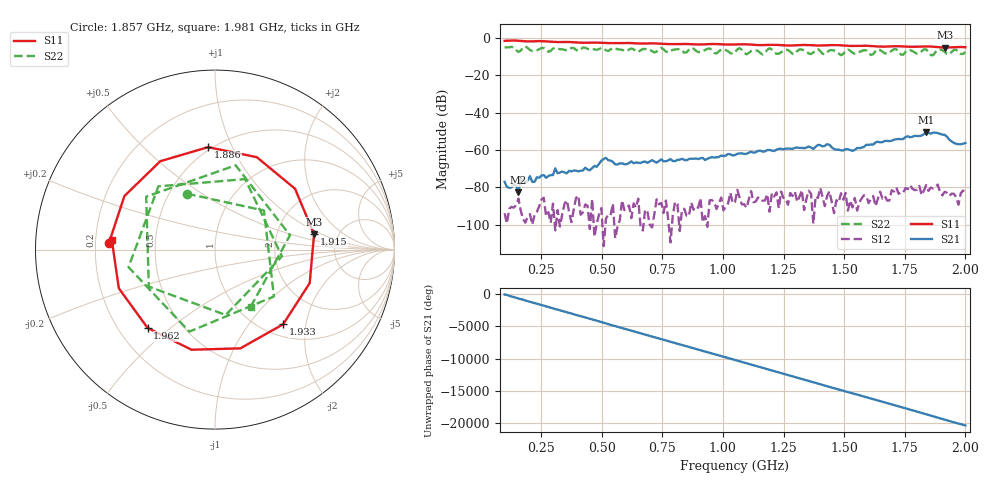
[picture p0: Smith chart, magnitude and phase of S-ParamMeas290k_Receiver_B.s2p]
!Keysight Technologies,N5242B,MY48420967,A.15.65.19
!Date: Saturday, February 04, 2023 18:42:34
!Correction: S11(C  1-Port  )
!S21(Off)
!S12(Off)
!S22(Off)
!S2P File: Measurements: S11, S21, S12, S22:
# Hz S  dB  R 50
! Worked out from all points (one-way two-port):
!   201 points, 100 MHz to 2 GHz, reference 50 ohm
!   highest |S21| = -50.52 dB at 1.839 GHz (marker M1); lowest = -82.6 dB at 157 MHz (marker M2)
!   lowest |S11| = -5.1 dB at 1.915 GHz (marker M3), VSWR 3.53, Z = 165 + j40.9 ohm
!   |S11| at or under -10 dB: nowhere
!   |S22| runs from -9.2 to -4.5 dB; largest |S21 - S12| = 0.003
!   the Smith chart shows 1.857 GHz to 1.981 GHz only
!   S11 on the Smith chart (normalised r, x): 1.857 GHz: 0.26, +0.03; 1.886 GHz: 0.48, +0.81; 1.915 GHz: 3.31, +0.82; 1.933 GHz: 1.22, -1.49; 1.962 GHz: 0.32, -0.42; 1.981 GHz: 0.27, +0.04
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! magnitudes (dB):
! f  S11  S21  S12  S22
! 100 MHz  -1.5  -77.1  -93.9  -5.0
! 157 MHz  -1.4  -82.6  -86.0  -7.5
! 166.5 MHz  -1.5  -75.6  -92.4  -6.7
! 223.5 MHz  -1.7  -77.0  -94.9  -6.8
! 309 MHz  -2.1  -69.8  -103.0  -5.2
! 423 MHz  -2.5  -71.0  -93.4  -5.1
! 518 MHz  -2.6  -64.2  -96.7  -6.6
! 556 MHz  -2.7  -67.7  -107.3  -5.5
! 736.5 MHz  -3.0  -65.9  -89.1  -6.0
! 1.05 GHz  -3.4  -62.7  -87.9  -7.6
! 1.373 GHz  -3.9  -59.5  -99.5  -7.7
! 1.43 GHz  -3.9  -56.9  -84.6  -7.6
! 1.534 GHz  -4.2  -60.4  -90.8  -7.8
! 1.687 GHz  -4.4  -55.2  -87.1  -7.8
! 1.839 GHz  -4.5  -50.5  -78.8  -6.1
! 1.857 GHz  -4.5  -51.2  -80.1  -9.2
! 1.886 GHz  -4.9  -50.9  -78.5  -6.4
! 1.915 GHz  -5.1  -51.9  -82.4  -7.4
! 1.933 GHz  -5.0  -54.4  -84.6  -8.7
! 1.962 GHz  -4.8  -56.7  -85.4  -6.3
! 1.981 GHz  -4.8  -56.9  -83.2  -8.5
! 2 GHz  -4.9  -56.2  -84.0  -7.5
